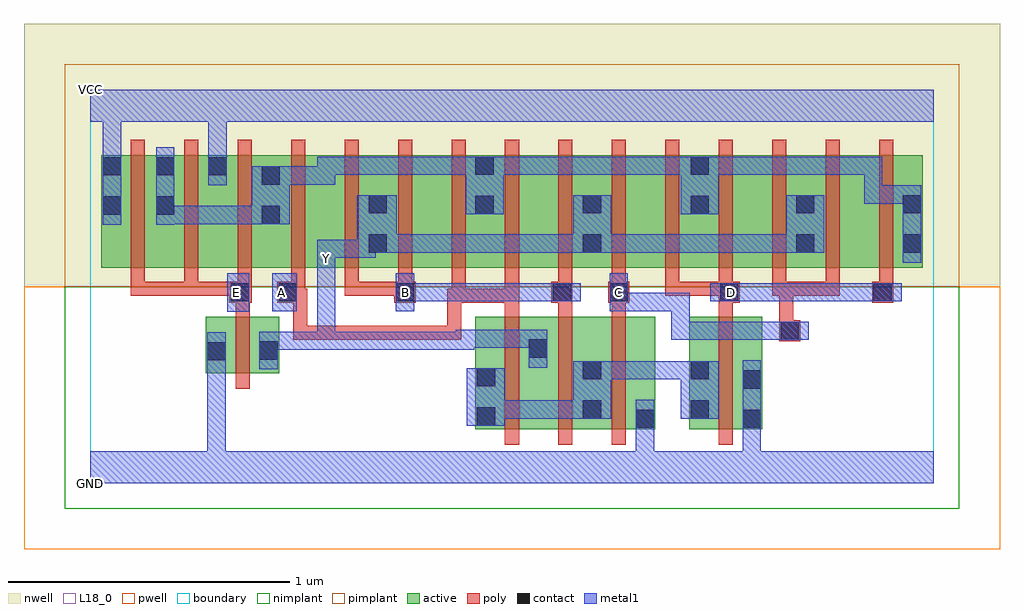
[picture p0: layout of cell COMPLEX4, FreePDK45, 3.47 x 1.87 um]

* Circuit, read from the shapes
.subckt COMPLEX4 A B C D E GND VCC Y
M1 Y E GND VSUBS nfet w=0.2u l=0.05u
M2 Y A n1 VSUBS nfet w=0.4u l=0.05u
M3 n1 B Y VSUBS nfet w=0.4u l=0.05u
M4 GND C n1 VSUBS nfet w=0.4u l=0.05u
M5 GND D n1 VSUBS nfet w=0.4u l=0.05u
M6 n2 E VCC n3 pfet w=0.4u l=0.05u m=3
M7 n4 A n2 n3 pfet w=0.4u l=0.05u
M8 Y B n4 n3 pfet w=0.4u l=0.05u
M9 n5 B Y n3 pfet w=0.4u l=0.05u
M10 n2 A n5 n3 pfet w=0.4u l=0.05u
M11 n6 A n2 n3 pfet w=0.4u l=0.05u
M12 Y B n6 n3 pfet w=0.4u l=0.05u
M13 n7 C Y n3 pfet w=0.4u l=0.05u
M14 n2 D n7 n3 pfet w=0.4u l=0.05u
M15 n8 D n2 n3 pfet w=0.4u l=0.05u
M16 Y C n8 n3 pfet w=0.4u l=0.05u
M17 n9 C Y n3 pfet w=0.4u l=0.05u
M18 n2 D n9 n3 pfet w=0.4u l=0.05u
.ends

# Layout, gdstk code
import gdstk
lib = gdstk.Library(unit=1e-6, precision=1e-09)
def R(c, l, rs):  # rectangles x0, y0, x1, y1
    for r in rs: c.add(gdstk.rectangle(r[:2], r[2:], *l))
def A(c, l, x, y, w, h, nx, ny, dx, dy):  # array of equal rectangles
    R(c, l, [(x+i*dx, y+j*dy, x+i*dx+w, y+j*dy+h) for i in range(nx) for j in range(ny)])
active = (1, 0)
pwell = (2, 0)
nwell = (3, 0)
nimplant = (4, 0)
pimplant = (5, 0)
poly = (9, 0)
contact = (10, 0)
metal1 = (11, 0)
L18_0 = (18, 0)
boundary = (235, 0)

complex4 = lib.new_cell('COMPLEX4')
A(complex4, active, 0.605, 0.767, 0.23, 0.4, 3, 1, 0.38, 0)
R(complex4, active, [(1.37,0.192,1.63,0.592), (1.555,0.192,1.822,0.592), (1.747,0.192,2.01,0.592), (1.935,0.192,2.01,0.592), (2.13,0.192,2.39,0.592), (2.315,0.192,2.39,0.592), (1.37,0.2,1.445,0.592), (1.747,0.2,1.822,0.492), (2.13,0.2,2.205,0.592), (1.555,0.245,1.63,0.517), (0.412,0.392,0.672,0.592), (0.412,0.432,0.487,0.592), (0.597,0.435,0.672,0.592), (0.04,0.767,0.115,1.167), (0.04,0.767,0.305,1.167), (0.23,0.767,0.49,1.167), (0.23,0.767,0.305,1.165), (0.415,0.767,0.49,1.167), (0.415,0.767,0.68,1.167), (0.605,0.767,0.68,1.155), (0.835,0.767,1.06,1.167), (0.985,0.767,1.06,1.07), (1.215,0.767,1.44,1.167), (1.365,0.767,1.44,1.167), (1.595,0.767,1.822,1.167), (1.747,0.767,1.822,1.07), (1.747,0.767,1.975,1.167), (1.975,0.767,2.205,1.167), (2.13,0.767,2.355,1.167), (2.355,0.767,2.58,1.167), (2.505,0.767,2.735,1.167), (2.505,0.767,2.58,1.07), (2.735,0.767,2.96,1.167), (2.885,0.767,2.96,1.155), (2.13,0.802,2.205,1.167)])
R(complex4, pwell, [(-0.235,-0.235,3.235,0.7)])
R(complex4, nwell, [(-0.235,0.7,3.235,1.635)])
R(complex4, nimplant, [(-0.09,-0.09,3.09,0.7)])
R(complex4, pimplant, [(-0.09,0.7,3.09,1.49)])
A(complex4, poly, 1.475, 0.137, 0.05, 0.51, 3, 1, 0.19, 0)
A(complex4, poly, 1.475, 0.597, 0.05, 0.095, 3, 1, 0.19, 0)
A(complex4, poly, 0.145, 0.667, 0.05, 0.095, 6, 1, 0.19, 0)
A(complex4, poly, 1.665, 0.667, 0.05, 0.095, 7, 1, 0.19, 0)
A(complex4, poly, 0.145, 0.712, 0.05, 0.51, 15, 1, 0.19, 0)
R(complex4, poly, [(2.235,0.137,2.285,0.647), (0.517,0.337,0.567,0.647), (2.45,0.505,2.525,0.58), (0.722,0.51,0.772,0.56), (0.722,0.51,0.772,0.56), (0.722,0.51,0.772,0.56), (0.722,0.51,0.772,0.692), (0.722,0.51,0.975,0.56), (0.925,0.51,0.975,0.56), (0.925,0.51,0.975,0.56), (0.925,0.51,0.975,0.56), (0.925,0.51,1.187,0.56), (1.137,0.51,1.187,0.56), (1.137,0.51,1.187,0.56), (1.137,0.51,1.187,0.56), (1.137,0.51,1.32,0.56), (1.27,0.51,1.32,0.56), (1.27,0.51,1.32,0.692), (2.45,0.53,2.5,0.717), (0.517,0.597,0.567,0.692), (2.235,0.597,2.285,0.692), (0.495,0.642,0.575,0.717), (0.665,0.642,0.765,0.717), (0.715,0.642,0.765,0.692), (0.715,0.642,0.772,0.692), (1.082,0.642,1.157,0.717), (1.27,0.642,1.32,0.692), (1.27,0.642,1.32,0.692), (1.27,0.642,1.335,0.692), (1.285,0.642,1.525,0.692), (1.285,0.642,1.335,0.762), (1.475,0.642,1.525,0.692), (1.475,0.642,1.525,0.692), (1.475,0.642,1.525,0.692), (1.475,0.642,1.525,0.762), (1.64,0.642,1.715,0.717), (1.842,0.642,1.917,0.717), (2.235,0.642,2.31,0.717), (2.78,0.642,2.855,0.717), (0.145,0.667,0.195,0.717), (0.145,0.667,0.195,0.717), (0.145,0.667,0.195,0.717), (0.145,0.667,0.385,0.717), (0.335,0.667,0.385,0.717), (0.335,0.667,0.385,0.717), (0.335,0.667,0.385,0.717), (0.335,0.667,0.545,0.717), (0.905,0.667,0.955,0.717), (0.905,0.667,0.955,0.717), (0.905,0.667,0.955,0.717), (0.905,0.667,1.132,0.717), (2.045,0.667,2.095,0.717), (2.045,0.667,2.095,0.717), (2.045,0.667,2.095,0.717), (2.045,0.667,2.285,0.717), (2.425,0.667,2.5,0.717), (2.45,0.667,2.5,0.717), (2.45,0.667,2.5,0.717), (2.45,0.667,2.665,0.717), (2.615,0.667,2.665,0.717), (2.615,0.667,2.665,0.717), (2.615,0.667,2.665,0.717)])
R(complex4, contact, [(1.94,0.197,2.005,0.262), (2.32,0.197,2.385,0.262), (1.375,0.205,1.44,0.27), (1.752,0.23,1.817,0.295), (2.135,0.23,2.2,0.295), (2.32,0.337,2.385,0.402), (1.375,0.345,1.44,0.41), (1.752,0.37,1.817,0.435), (2.135,0.37,2.2,0.435), (0.417,0.437,0.482,0.502), (0.602,0.44,0.667,0.505), (1.56,0.447,1.625,0.512), (2.455,0.51,2.52,0.575), (0.5,0.647,0.565,0.712), (0.67,0.647,0.735,0.712), (1.087,0.647,1.152,0.712), (1.645,0.647,1.71,0.712), (1.847,0.647,1.912,0.712), (2.24,0.647,2.305,0.712), (2.785,0.647,2.85,0.712), (0.99,0.82,1.055,0.885), (1.752,0.82,1.817,0.885), (2.51,0.82,2.575,0.885), (2.89,0.82,2.955,0.885), (0.61,0.922,0.675,0.987), (0.045,0.955,0.11,1.02), (0.235,0.955,0.3,1.02), (1.37,0.957,1.435,1.022), (2.135,0.957,2.2,1.022), (0.99,0.96,1.055,1.025), (1.752,0.96,1.817,1.025), (2.51,0.96,2.575,1.025), (2.89,0.96,2.955,1.025), (0.61,1.062,0.675,1.127), (0.045,1.095,0.11,1.16), (0.235,1.095,0.3,1.16), (0.42,1.095,0.485,1.16), (1.37,1.097,1.435,1.162), (2.135,1.097,2.2,1.162)])
R(complex4, metal1, [(0,0,3,0.115), (0.417,0.05,0.482,0.115), (0.417,0.05,0.482,0.115), (0.417,0.05,0.482,0.115), (0.417,0.05,0.482,0.115), (0.417,0.05,0.482,0.467), (1.94,0.05,2.005,0.227), (2.32,0.05,2.385,0.115), (2.32,0.05,2.385,0.115), (2.32,0.05,2.385,0.227), (1.94,0.162,2.005,0.227), (1.94,0.162,2.005,0.227), (1.94,0.162,2.005,0.297), (2.32,0.162,2.385,0.437), (1.34,0.205,1.475,0.41), (1.41,0.23,1.502,0.295), (1.437,0.23,1.502,0.295), (1.437,0.23,1.645,0.295), (1.58,0.23,1.645,0.295), (1.58,0.23,1.645,0.295), (1.58,0.23,1.645,0.295), (1.58,0.23,1.782,0.295), (1.717,0.23,1.852,0.435), (2.1,0.23,2.235,0.435), (1.787,0.37,1.99,0.435), (1.925,0.37,1.99,0.435), (1.925,0.37,1.99,0.435), (1.925,0.37,1.99,0.435), (1.925,0.37,2.132,0.435), (2.067,0.37,2.132,0.435), (2.067,0.37,2.165,0.435), (0.417,0.402,0.482,0.467), (0.417,0.402,0.482,0.467), (0.417,0.402,0.482,0.537), (0.602,0.405,0.667,0.54), (1.56,0.412,1.625,0.547), (0.602,0.475,0.667,0.54), (0.602,0.475,0.667,0.54), (0.602,0.475,0.872,0.54), (0.807,0.475,0.872,0.54), (0.807,0.475,1.01,0.54), (0.807,0.475,0.872,0.797), (0.945,0.475,1.01,0.54), (0.945,0.475,1.01,0.54), (0.945,0.475,1.01,0.54), (0.945,0.475,1.227,0.54), (1.162,0.475,1.227,0.54), (1.162,0.475,1.227,0.54), (1.162,0.475,1.227,0.54), (1.162,0.475,1.365,0.54), (1.3,0.475,1.365,0.547), (1.3,0.482,1.365,0.547), (1.3,0.482,1.365,0.547), (1.3,0.482,1.507,0.547), (1.442,0.482,1.507,0.547), (1.442,0.482,1.625,0.547), (2.067,0.51,2.132,0.575), (2.067,0.51,2.27,0.575), (2.067,0.51,2.132,0.677), (2.205,0.51,2.27,0.575), (2.205,0.51,2.372,0.575), (2.307,0.51,2.372,0.575), (2.307,0.51,2.372,0.575), (2.307,0.51,2.372,0.575), (2.307,0.51,2.485,0.575), (2.42,0.51,2.555,0.575), (0.487,0.61,0.565,0.747), (0.647,0.612,0.735,0.747), (1.087,0.612,1.152,0.747), (1.847,0.612,1.995,0.677), (1.847,0.612,1.912,0.747), (1.93,0.612,1.995,0.677), (1.93,0.612,2.132,0.677), (2.067,0.612,2.132,0.677), (2.067,0.612,2.132,0.677), (2.067,0.612,2.132,0.677), (1.087,0.647,1.227,0.712), (1.162,0.647,1.227,0.712), (1.162,0.647,1.365,0.712), (1.3,0.647,1.365,0.712), (1.3,0.647,1.365,0.712), (1.3,0.647,1.365,0.712), (1.3,0.647,1.507,0.712), (1.442,0.647,1.507,0.712), (1.442,0.647,1.645,0.712), (1.58,0.647,1.645,0.712), (1.58,0.647,1.675,0.712), (1.61,0.647,1.745,0.712), (2.205,0.647,2.347,0.712), (2.282,0.647,2.372,0.712), (2.307,0.647,2.372,0.712), (2.307,0.647,2.54,0.712), (2.475,0.647,2.54,0.712), (2.475,0.647,2.677,0.712), (2.612,0.647,2.677,0.712), (2.612,0.647,2.677,0.712), (2.612,0.647,2.677,0.712), (2.612,0.647,2.815,0.712), (2.75,0.647,2.815,0.712), (2.75,0.647,2.815,0.712), (2.75,0.647,2.885,0.712), (0.807,0.732,0.872,0.867), (2.89,0.785,2.955,1.06), (0.807,0.802,1.015,0.867), (0.95,0.802,1.015,0.867), (0.95,0.802,1.015,0.867), (0.95,0.802,1.015,0.867), (0.95,0.802,1.015,0.885), (0.95,0.82,1.09,1.025), (1.025,0.82,1.227,0.885), (1.162,0.82,1.227,0.885), (1.162,0.82,1.227,0.885), (1.162,0.82,1.227,0.885), (1.162,0.82,1.365,0.885), (1.3,0.82,1.365,0.885), (1.3,0.82,1.365,0.885), (1.3,0.82,1.365,0.885), (1.3,0.82,1.507,0.885), (1.442,0.82,1.507,0.885), (1.442,0.82,1.645,0.885), (1.58,0.82,1.645,0.885), (1.58,0.82,1.645,0.885), (1.58,0.82,1.645,0.885), (1.58,0.82,1.782,0.885), (1.717,0.82,1.852,1.025), (1.787,0.82,1.852,0.885), (1.787,0.82,1.852,0.885), (1.787,0.82,1.99,0.885), (1.925,0.82,1.99,0.885), (1.925,0.82,2.132,0.885), (2.067,0.82,2.132,0.885), (2.067,0.82,2.132,0.885), (2.067,0.82,2.132,0.885), (2.067,0.82,2.27,0.885), (2.205,0.82,2.27,0.885), (2.205,0.82,2.402,0.885), (2.337,0.82,2.402,0.885), (2.337,0.82,2.54,0.885), (2.475,0.82,2.54,0.885), (2.475,0.82,2.54,0.885), (2.475,0.82,2.61,1.025), (0.045,0.92,0.11,1.195), (0.235,0.92,0.3,1.195), (0.235,0.922,0.3,0.987), (0.235,0.922,0.3,0.987), (0.235,0.922,0.437,0.987), (0.372,0.922,0.437,0.987), (0.372,0.922,0.437,0.987), (0.372,0.922,0.437,0.987), (0.372,0.922,0.64,0.987), (0.575,0.922,0.71,1.127), (1.335,0.957,1.47,1.162), (2.1,0.957,2.235,1.162), (2.752,0.995,2.817,1.06), (2.752,0.995,2.955,1.06), (2.752,0.995,2.817,1.162), (2.89,0.995,2.955,1.06), (2.89,0.995,2.955,1.06), (0.42,1.06,0.485,1.195), (0.645,1.062,0.71,1.127), (0.645,1.062,0.71,1.127), (0.645,1.062,0.872,1.127), (0.807,1.062,0.872,1.127), (0.807,1.062,0.872,1.162), (0.807,1.097,0.872,1.162), (0.807,1.097,0.872,1.162), (0.807,1.097,0.872,1.162), (0.807,1.097,1.09,1.162), (1.025,1.097,1.09,1.162), (1.025,1.097,1.227,1.162), (1.162,1.097,1.227,1.162), (1.162,1.097,1.227,1.162), (1.162,1.097,1.227,1.162), (1.162,1.097,1.365,1.162), (1.3,1.097,1.365,1.162), (1.3,1.097,1.4,1.162), (1.405,1.097,1.507,1.162), (1.442,1.097,1.507,1.162), (1.442,1.097,1.645,1.162), (1.58,1.097,1.645,1.162), (1.58,1.097,1.645,1.162), (1.58,1.097,1.645,1.162), (1.58,1.097,1.782,1.162), (1.717,1.097,1.782,1.162), (1.717,1.097,1.782,1.162), (1.717,1.097,1.782,1.162), (1.717,1.097,1.99,1.162), (1.925,1.097,1.99,1.162), (1.925,1.097,2.132,1.162), (2.067,1.097,2.132,1.162), (2.067,1.097,2.165,1.162), (2.17,1.097,2.27,1.162), (2.205,1.097,2.27,1.162), (2.205,1.097,2.402,1.162), (2.337,1.097,2.402,1.162), (2.337,1.097,2.54,1.162), (2.475,1.097,2.54,1.162), (2.475,1.097,2.54,1.162), (2.475,1.097,2.54,1.162), (2.475,1.097,2.677,1.162), (2.612,1.097,2.677,1.162), (2.612,1.097,2.817,1.162), (2.752,1.097,2.817,1.162), (0.045,1.13,0.11,1.35), (0.42,1.13,0.485,1.35), (0,1.285,3,1.4)])
R(complex4, L18_0, [(0,0,3,0.115), (0.417,0.05,0.482,0.115), (0.417,0.05,0.482,0.115), (0.417,0.05,0.482,0.115), (0.417,0.05,0.482,0.115), (0.417,0.05,0.482,0.467), (1.94,0.05,2.005,0.227), (2.32,0.05,2.385,0.115), (2.32,0.05,2.385,0.115), (2.32,0.05,2.385,0.227), (1.94,0.162,2.005,0.227), (1.94,0.162,2.005,0.227), (1.94,0.162,2.005,0.297), (2.32,0.162,2.385,0.437), (0.417,0.402,0.482,0.467), (0.417,0.402,0.482,0.467), (0.417,0.402,0.482,0.537), (0.602,0.405,0.667,0.54), (1.56,0.412,1.625,0.547), (0.602,0.475,0.667,0.54), (0.602,0.475,0.667,0.54), (0.602,0.475,0.872,0.54), (0.807,0.475,0.872,0.54), (0.807,0.475,0.872,0.797), (0.807,0.475,1.01,0.54), (0.945,0.475,1.01,0.54), (0.945,0.475,1.01,0.54), (0.945,0.475,1.01,0.54), (0.945,0.475,1.227,0.54), (1.162,0.475,1.227,0.54), (1.162,0.475,1.227,0.54), (1.162,0.475,1.227,0.54), (1.162,0.475,1.365,0.54), (1.3,0.475,1.365,0.547), (1.3,0.482,1.365,0.547), (1.3,0.482,1.365,0.547), (1.3,0.482,1.507,0.547), (1.442,0.482,1.507,0.547), (1.442,0.482,1.625,0.547), (2.067,0.51,2.132,0.575), (2.067,0.51,2.27,0.575), (2.067,0.51,2.132,0.677), (2.205,0.51,2.27,0.575), (2.205,0.51,2.372,0.575), (2.307,0.51,2.372,0.575), (2.307,0.51,2.372,0.575), (2.307,0.51,2.372,0.575), (2.307,0.51,2.485,0.575), (2.42,0.51,2.555,0.575), (0.487,0.61,0.565,0.747), (0.647,0.612,0.735,0.747), (1.087,0.612,1.152,0.747), (1.847,0.612,1.912,0.747), (1.847,0.612,1.995,0.677), (1.93,0.612,1.995,0.677), (1.93,0.612,2.132,0.677), (2.067,0.612,2.132,0.677), (2.067,0.612,2.132,0.677), (2.067,0.612,2.132,0.677), (0.487,0.647,0.552,0.712), (0.647,0.647,0.712,0.712), (1.087,0.647,1.152,0.712), (1.087,0.647,1.227,0.712), (1.162,0.647,1.227,0.712), (1.162,0.647,1.365,0.712), (1.3,0.647,1.365,0.712), (1.3,0.647,1.365,0.712), (1.3,0.647,1.365,0.712), (1.3,0.647,1.507,0.712), (1.442,0.647,1.507,0.712), (1.442,0.647,1.645,0.712), (1.58,0.647,1.645,0.712), (1.58,0.647,1.675,0.712), (1.61,0.647,1.745,0.712), (1.847,0.647,1.912,0.712), (2.205,0.647,2.347,0.712), (2.247,0.647,2.312,0.712), (2.282,0.647,2.372,0.712), (2.307,0.647,2.372,0.712), (2.307,0.647,2.54,0.712), (2.475,0.647,2.54,0.712), (2.475,0.647,2.677,0.712), (2.612,0.647,2.677,0.712), (2.612,0.647,2.677,0.712), (2.612,0.647,2.677,0.712), (2.612,0.647,2.815,0.712), (2.75,0.647,2.815,0.712), (2.75,0.647,2.815,0.712), (2.75,0.647,2.885,0.712), (0.807,0.732,0.872,0.867), (0.807,0.767,0.872,0.832), (0.807,0.802,1.015,0.867), (0.95,0.802,1.015,0.867), (0.95,0.802,1.015,0.867), (0.95,0.802,1.015,0.867), (0.95,0.802,1.015,0.885), (0.95,0.82,1.09,1.025), (1.025,0.82,1.227,0.885), (1.162,0.82,1.227,0.885), (1.162,0.82,1.227,0.885), (1.162,0.82,1.227,0.885), (1.162,0.82,1.365,0.885), (1.3,0.82,1.365,0.885), (1.3,0.82,1.365,0.885), (1.3,0.82,1.365,0.885), (1.3,0.82,1.507,0.885), (1.442,0.82,1.507,0.885), (1.442,0.82,1.645,0.885), (1.58,0.82,1.645,0.885), (1.58,0.82,1.645,0.885), (1.58,0.82,1.645,0.885), (1.58,0.82,1.782,0.885), (1.717,0.82,1.852,1.025), (1.787,0.82,1.852,0.885), (1.787,0.82,1.852,0.885), (1.787,0.82,1.99,0.885), (1.925,0.82,1.99,0.885), (1.925,0.82,2.132,0.885), (2.067,0.82,2.132,0.885), (2.067,0.82,2.132,0.885), (2.067,0.82,2.132,0.885), (2.067,0.82,2.27,0.885), (2.205,0.82,2.27,0.885), (2.205,0.82,2.402,0.885), (2.337,0.82,2.402,0.885), (2.337,0.82,2.54,0.885), (2.475,0.82,2.54,0.885), (2.475,0.82,2.54,0.885), (2.475,0.82,2.61,1.025), (0.045,0.92,0.11,1.195), (0.42,1.06,0.485,1.195), (0.045,1.13,0.11,1.35), (0.42,1.13,0.485,1.35), (0,1.285,3,1.4)])
R(complex4, boundary, [(0,0,3,1.4)])
complex4.add(gdstk.Label('A', (0.68,0.68), layer=11, texttype=0))
complex4.add(gdstk.Label('B', (1.12,0.68), layer=11, texttype=0))
complex4.add(gdstk.Label('C', (1.88,0.68), layer=11, texttype=0))
complex4.add(gdstk.Label('D', (2.28,0.68), layer=11, texttype=0))
complex4.add(gdstk.Label('E', (0.52,0.68), layer=11, texttype=0))
complex4.add(gdstk.Label('Y', (0.84,0.8), layer=11, texttype=0))
complex4.add(gdstk.Label('VCC', (0,1.4), layer=11, texttype=0))
complex4.add(gdstk.Label('GND', (0,0), layer=11, texttype=0))

lib.write_gds('COMPLEX4.gds')
